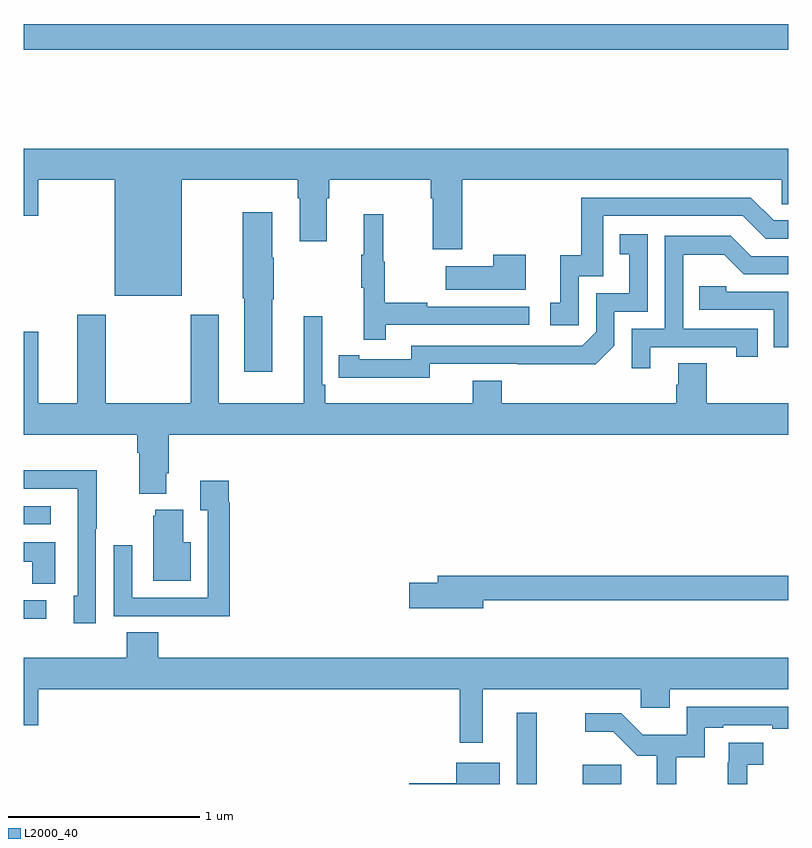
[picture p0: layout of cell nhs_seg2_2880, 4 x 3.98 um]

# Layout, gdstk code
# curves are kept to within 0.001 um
import gdstk
lib = gdstk.Library(unit=1e-6, precision=1e-09)
def R(c, l, rs):  # rectangles x0, y0, x1, y1
    for r in rs: c.add(gdstk.rectangle(r[:2], r[2:], *l))
def P(c, l, *ps):  # polygons
    for p in ps: c.add(gdstk.Polygon(p, *l))
L2000_40 = (2000, 40)

nhs_seg2_2880 = lib.new_cell('nhs_seg2_2880')
R(nhs_seg2_2880, L2000_40, [(263.579,653.8,263.683,654.172), (263.924,653.8,264.127,653.901), (261,654.665,261.118,654.762), (261,655.158,261.142,655.254), (261,657.64,265,657.776)])
P(nhs_seg2_2880, L2000_40, [(261.826,656.96),(262.433,656.96),(262.433,656.864),(262.445,656.864),(262.445,656.64),(262.585,656.64),(262.585,656.864),(262.598,656.864),(262.598,656.96),(263.129,656.96),(263.129,656.864),(263.141,656.864),(263.141,656.598),(263.294,656.598),(263.294,656.96),(264.966,656.96),(264.966,656.833),(265,656.833),(265,657.124),(261,657.124),(261,656.772),(261.076,656.772),(261.076,656.96),(261.476,656.96),(261.476,656.354),(261.826,656.354)],
  [(263.904,656.457),(264.033,656.457),(264.033,656.772),(264.762,656.772),(264.882,656.652),(265,656.652),(265,656.748),(264.924,656.748),(264.804,656.868),(263.917,656.868),(263.917,656.566),(263.807,656.566),(263.807,656.319),(263.754,656.319),(263.754,656.199),(263.904,656.199)],
  [(262.3,656.335),(262.308,656.335),(262.308,656.552),(262.3,656.552),(262.3,656.791),(262.147,656.791),(262.147,656.341),(262.154,656.341),(262.154,655.956),(262.3,655.956)],
  [(262.895,656.202),(263.644,656.202),(263.644,656.298),(263.111,656.298),(263.111,656.318),(262.888,656.318),(262.888,656.532),(262.88,656.532),(262.88,656.782),(262.778,656.782),(262.778,656.569),(262.767,656.569),(262.767,656.395),(262.778,656.395),(262.778,656.124),(262.895,656.124)],
  [(263.124,655.998),(263.992,655.997),(264.09,656.094),(264.09,656.271),(264.264,656.271),(264.264,656.677),(264.118,656.677),(264.118,656.571),(264.167,656.571),(264.167,656.367),(263.994,656.367),(263.994,656.166),(263.922,656.094),(263.028,656.094),(263.028,656.022),(262.756,656.022),(262.756,656.042),(262.648,656.042),(262.648,655.926),(263.124,655.925)],
  [(264.277,656.085),(264.728,656.085),(264.728,656.034),(264.839,656.034),(264.839,656.181),(264.45,656.181),(264.45,656.57),(264.664,656.57),(264.768,656.466),(265,656.466),(265,656.562),(264.805,656.562),(264.7,656.667),(264.354,656.667),(264.354,656.181),(264.18,656.181),(264.18,655.974),(264.277,655.974)],
  [(263.626,656.569),(263.456,656.569),(263.456,656.509),(263.207,656.509),(263.207,656.387),(263.626,656.387)],
  [(265,656.376),(264.675,656.376),(264.675,656.403),(264.535,656.403),(264.535,656.28),(264.924,656.28),(264.924,656.085),(265,656.085)],
  [(261.745,655.426),(261.758,655.426),(261.758,655.628),(265,655.628),(265,655.792),(264.573,655.792),(264.573,656),(264.425,656),(264.425,655.89),(264.413,655.89),(264.413,655.792),(263.501,655.792),(263.501,655.909),(263.348,655.909),(263.348,655.792),(262.577,655.792),(262.577,655.888),(262.563,655.888),(262.563,656.248),(262.466,656.248),(262.466,655.792),(262.021,655.792),(262.021,656.254),(261.874,656.254),(261.874,655.792),(261.429,655.792),(261.429,656.254),(261.281,656.254),(261.281,655.792),(261.076,655.792),(261.076,656.167),(261,656.167),(261,655.628),(261.593,655.628),(261.593,655.532),(261.605,655.532),(261.605,655.319),(261.745,655.319)],
  [(261.378,655.135),(261.381,655.135),(261.381,655.442),(261,655.442),(261,655.344),(261.282,655.344),(261.282,654.786),(261.263,654.786),(261.263,654.642),(261.378,654.642)],
  [(262.079,655.274),(262.072,655.274),(262.072,655.387),(261.923,655.387),(261.923,655.231),(261.963,655.231),(261.963,654.774),(261.567,654.774),(261.567,655.048),(261.471,655.048),(261.471,654.678),(261.787,654.678),(261.787,654.677),(262.079,654.677)],
  [(261.874,655.066),(261.835,655.066),(261.835,655.234),(261.689,655.234),(261.689,655.203),(261.677,655.203),(261.677,654.863),(261.874,654.863)],
  [(261.166,655.066),(261,655.066),(261,654.962),(261.045,654.962),(261.045,654.847),(261.166,654.847)],
  [(263.404,654.762),(265,654.762),(265,654.89),(263.165,654.89),(263.165,654.854),(263.016,654.854),(263.016,654.719),(263.404,654.719)],
  [(263.401,654.296),(264.228,654.296),(264.228,654.198),(264.379,654.198),(264.379,654.296),(265,654.296),(265,654.46),(261.704,654.46),(261.704,654.593),(261.539,654.593),(261.539,654.46),(261,654.46),(261,654.108),(261.076,654.108),(261.076,654.296),(263.28,654.296),(263.28,654.015),(263.401,654.015)],
  [(264.413,653.941),(264.564,653.941),(264.564,654.094),(264.661,654.094),(264.661,654.108),(264.917,654.108),(264.917,654.088),(265,654.088),(265,654.204),(264.468,654.204),(264.468,654.058),(264.239,654.058),(264.126,654.171),(263.937,654.171),(263.937,654.074),(264.085,654.074),(264.211,653.949),(264.311,653.949),(264.311,653.8),(264.413,653.8)],
  [(264.786,653.902),(264.868,653.902),(264.868,654.017),(264.688,654.017),(264.688,653.915),(264.682,653.915),(264.682,653.8),(264.786,653.8)],
  [(263.491,653.911),(263.264,653.911),(263.264,653.805),(263.016,653.805),(263.016,653.8),(263.491,653.8)])

lib.write_gds('nhs_seg2_2880.gds')
